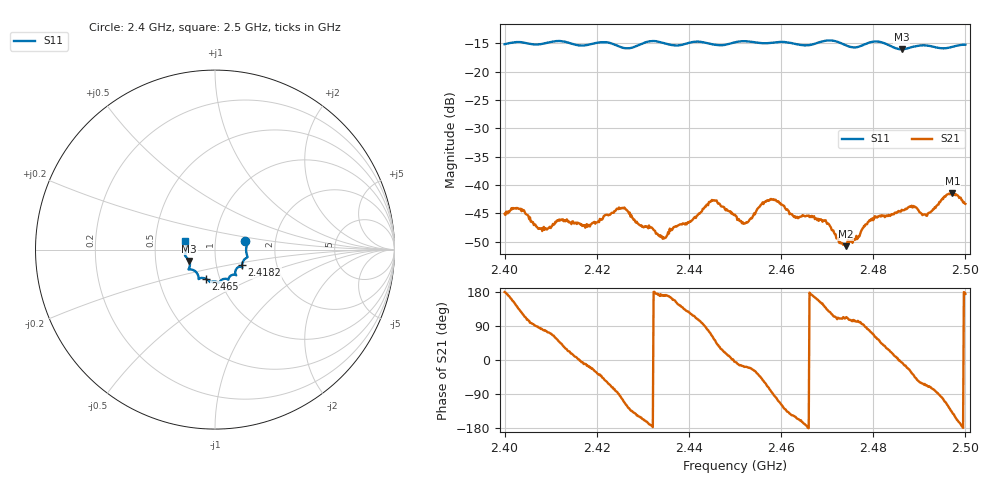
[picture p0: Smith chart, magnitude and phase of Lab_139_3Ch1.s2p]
# Hz S RI R 50
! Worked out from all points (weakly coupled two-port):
!   601 points, 2.4 GHz to 2.5 GHz, reference 50 ohm
!   highest |S21| = -41.46 dB at 2.4972 GHz (marker M1); lowest = -50.8 dB at 2.474 GHz (marker M2)
!   lowest |S11| = -16.1 dB at 2.4862 GHz (marker M3), VSWR 1.37, Z = 37.2 - j4.89 ohm
!   |S11| at or under -10 dB: start of sweep to end of sweep
!   S12 and S22 are empty: the file has one direction only
!   S11 on the Smith chart (normalised r, x): 2.4 GHz: 1.40, +0.14; 2.4182 GHz: 1.33, -0.23; 2.465 GHz: 0.86, -0.29; 2.5 GHz: 0.71, +0.07
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2.4e9  0.1679 0.0471  -0.00555 5.62e-05  0 0  0 0
2.403667e9  0.1789 0.0288  -0.00339 0.00478  0 0  0 0
2.407667e9  0.1738 -0.0108  0.000384 0.00411  0 0  0 0
2.412167e9  0.1809 -0.0417  0.00353 0.00344  0 0  0 0
2.416667e9  0.1552 -0.0681  0.00447 -0.000453  0 0  0 0
2.418167e9  0.15 -0.0848  0.00421 -0.0013  0 0  0 0
2.425667e9  0.1289 -0.0981  -0.00167 -0.00605  0 0  0 0
2.433333e9  0.117 -0.1415  -0.00356 0.000508  0 0  0 0
2.44e9  0.0758 -0.1622  -0.00271 0.00377  0 0  0 0
2.445e9  0.0623 -0.1627  0.00326 0.0066  0 0  0 0
2.45e9  0.0259 -0.1795  0.00541 -0.000478  0 0  0 0
2.452333e9  0.0201 -0.1839  0.00439 -0.00141  0 0  0 0
2.458167e9  -0.0178 -0.179  0.000274 -0.00741  0 0  0 0
2.465e9  -0.0526 -0.1621  -0.00521 -0.00108  0 0  0 0
2.466667e9  -0.0708 -0.1578  -0.00527 0.000742  0 0  0 0
2.474e9  -0.0949 -0.1421  -0.00103 0.00269  0 0  0 0
2.479333e9  -0.1439 -0.1102  0.00124 0.00466  0 0  0 0
2.483333e9  -0.1414 -0.0965  0.00484 0.00244  0 0  0 0
2.486167e9  -0.1433 -0.0641  0.00599 -0.000691  0 0  0 0
2.491833e9  -0.1669 -0.0288  0.00195 -0.00523  0 0  0 0
2.497167e9  -0.1628 0.0277  -0.00639 -0.00554  0 0  0 0
2.5e9  -0.1662 0.0472  -0.00676 0.000662  0 0  0 0
